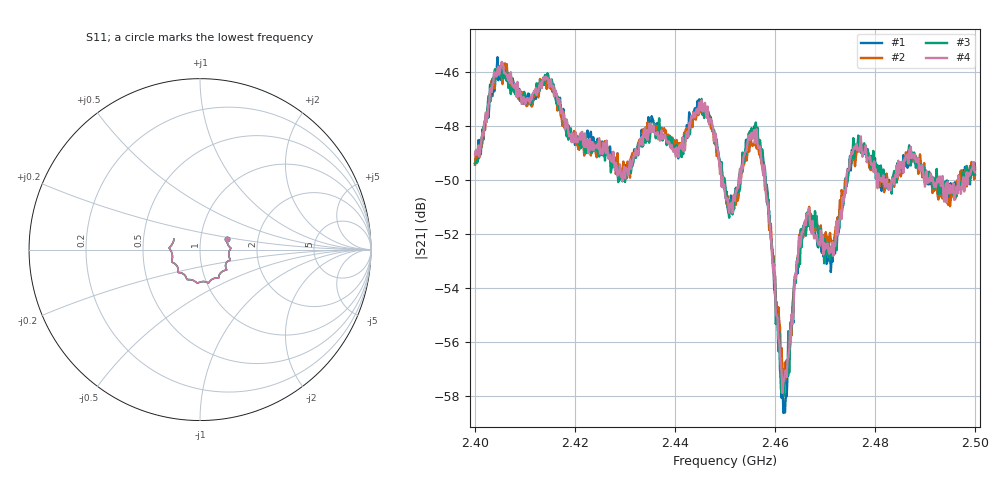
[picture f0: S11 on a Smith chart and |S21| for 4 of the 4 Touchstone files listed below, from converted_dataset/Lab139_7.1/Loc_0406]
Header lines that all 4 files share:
# Hz S RI R 50
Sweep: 2.4 GHz to 2.5 GHz
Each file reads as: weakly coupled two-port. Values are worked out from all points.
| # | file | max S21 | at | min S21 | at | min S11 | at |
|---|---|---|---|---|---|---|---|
| 1 | Lab_139_2Ch1.s2p | -45.47 dB | 2.4045 GHz | -58.6 dB | 2.4617 GHz | -15.8 dB | 2.4993 GHz |
| 2 | Lab_139_5Ch1.s2p | -45.70 dB | 2.406 GHz | -57.8 dB | 2.4617 GHz | -15.8 dB | 2.4993 GHz |
| 3 | Lab_139_6Ch1.s2p | -45.78 dB | 2.4047 GHz | -58.0 dB | 2.4618 GHz | -15.8 dB | 2.4993 GHz |
| 4 | Lab_139_8Ch1.s2p | -45.64 dB | 2.4053 GHz | -57.9 dB | 2.4615 GHz | -15.8 dB | 2.4993 GHz |
